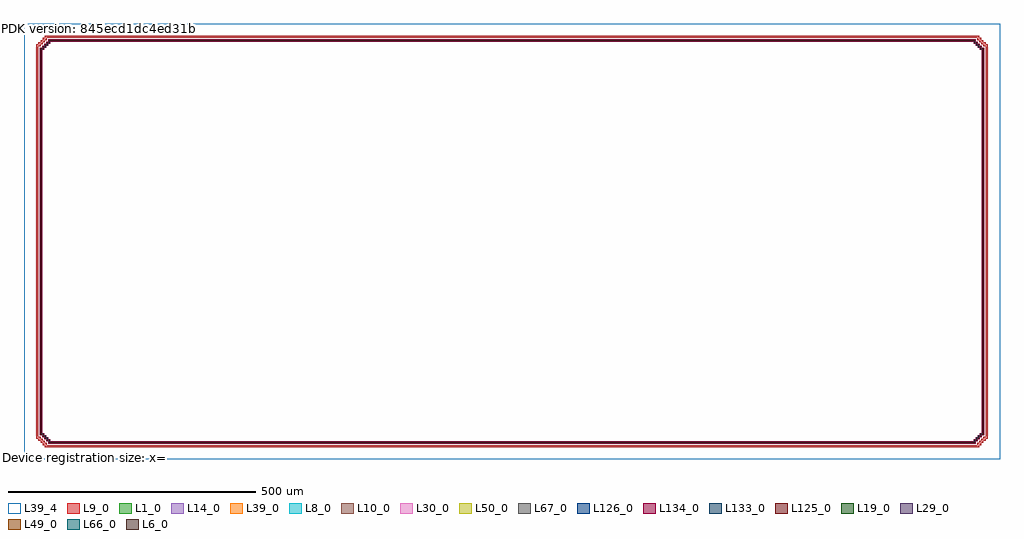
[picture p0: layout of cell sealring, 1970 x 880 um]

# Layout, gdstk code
import gdstk
lib = gdstk.Library(unit=1e-6, precision=1e-09)
def R(c, l, rs):  # rectangles x0, y0, x1, y1
    for r in rs: c.add(gdstk.rectangle(r[:2], r[2:], *l))
def P(c, l, *ps):  # polygons
    for p in ps: c.add(gdstk.Polygon(p, *l))
L1_0 = (1, 0)
L6_0 = (6, 0)
L8_0 = (8, 0)
L9_0 = (9, 0)
L10_0 = (10, 0)
L14_0 = (14, 0)
L19_0 = (19, 0)
L29_0 = (29, 0)
L30_0 = (30, 0)
L39_0 = (39, 0)
L39_4 = (39, 4)
L49_0 = (49, 0)
L50_0 = (50, 0)
L66_0 = (66, 0)
L67_0 = (67, 0)
L125_0 = (125, 0)
L126_0 = (126, 0)
L133_0 = (133, 0)
L134_0 = (134, 0)

sealring = lib.new_cell('sealring')
R(sealring, L1_0, [(49,32.2,53.2,40.6), (53.2,32.2,1916.8,36.4), (1916.8,32.2,1921,36.4), (44.8,36.4,49,44.8), (1916.8,36.4,1925.2,40.6), (40.6,40.6,44.8,49), (1921,40.6,1929.4,44.8), (36.4,44.8,40.6,53.2), (1925.2,44.8,1933.6,49), (32.2,49,36.4,53.2), (1929.4,49,1937.8,53.2), (32.2,53.2,36.4,826.8), (1933.6,53.2,1937.8,826.8), (32.2,826.8,40.6,831), (1929.4,826.8,1933.6,835.2), (1933.6,826.8,1937.8,831), (36.4,831,44.8,835.2), (1925.2,831,1929.4,839.4), (40.6,835.2,49,839.4), (1921,835.2,1925.2,843.6), (44.8,839.4,53.2,843.6), (1916.8,839.4,1921,847.8), (49,843.6,53.2,847.8), (53.2,843.6,1916.8,847.8)])
R(sealring, L6_0, [(53.2,34.2,1916.8,34.36), (34.2,53.2,34.36,826.8), (1935.64,53.2,1935.8,826.8), (53.2,845.64,1916.8,845.8)])
P(sealring, L6_0, [(1935.64,826.8),(1935.64,828.84),(1931.44,828.84),(1931.44,833.04),(1927.24,833.04),(1927.24,837.24),(1923.04,837.24),(1923.04,841.44),(1918.84,841.44),(1918.84,845.64),(1916.8,845.64),(1916.8,845.8),(1919,845.8),(1919,841.6),(1923.2,841.6),(1923.2,837.4),(1927.4,837.4),(1927.4,833.2),(1931.6,833.2),(1931.6,829),(1935.8,829),(1935.8,826.8)],
  [(51,34.2),(51,38.4),(46.8,38.4),(46.8,42.6),(42.6,42.6),(42.6,46.8),(38.4,46.8),(38.4,51),(34.2,51),(34.2,53.2),(34.36,53.2),(34.36,51.16),(38.56,51.16),(38.56,46.96),(42.76,46.96),(42.76,42.76),(46.96,42.76),(46.96,38.56),(51.16,38.56),(51.16,34.36),(53.2,34.36),(53.2,34.2)],
  [(1916.8,34.2),(1916.8,34.36),(1918.84,34.36),(1918.84,38.56),(1923.04,38.56),(1923.04,42.76),(1927.24,42.76),(1927.24,46.96),(1931.44,46.96),(1931.44,51.16),(1935.64,51.16),(1935.64,53.2),(1935.8,53.2),(1935.8,51),(1931.6,51),(1931.6,46.8),(1927.4,46.8),(1927.4,42.6),(1923.2,42.6),(1923.2,38.4),(1919,38.4),(1919,34.2)],
  [(34.2,826.8),(34.2,829),(38.4,829),(38.4,833.2),(42.6,833.2),(42.6,837.4),(46.8,837.4),(46.8,841.6),(51,841.6),(51,845.8),(53.2,845.8),(53.2,845.64),(51.16,845.64),(51.16,841.44),(46.96,841.44),(46.96,837.24),(42.76,837.24),(42.76,833.04),(38.56,833.04),(38.56,828.84),(34.36,828.84),(34.36,826.8)])
R(sealring, L8_0, [(49,32.2,53.2,40.6), (53.2,32.2,1916.8,36.4), (1916.8,32.2,1921,36.4), (44.8,36.4,49,44.8), (1916.8,36.4,1925.2,40.6), (40.6,40.6,44.8,49), (1921,40.6,1929.4,44.8), (36.4,44.8,40.6,53.2), (1925.2,44.8,1933.6,49), (32.2,49,36.4,53.2), (1929.4,49,1937.8,53.2), (32.2,53.2,36.4,826.8), (1933.6,53.2,1937.8,826.8), (32.2,826.8,40.6,831), (1929.4,826.8,1933.6,835.2), (1933.6,826.8,1937.8,831), (36.4,831,44.8,835.2), (1925.2,831,1929.4,839.4), (40.6,835.2,49,839.4), (1921,835.2,1925.2,843.6), (44.8,839.4,53.2,843.6), (1916.8,839.4,1921,847.8), (49,843.6,53.2,847.8), (53.2,843.6,1916.8,847.8)])
R(sealring, L9_0, [(53.2,25,1916.8,29.2), (25,53.2,29.2,826.8), (1940.8,53.2,1945,826.8), (53.2,850.8,1916.8,855)])
P(sealring, L9_0, [(41.8,25),(41.8,29.2),(37.6,29.2),(37.6,33.4),(33.4,33.4),(33.4,37.6),(29.2,37.6),(29.2,41.8),(25,41.8),(25,53.2),(29.2,53.2),(29.2,46),(33.4,46),(33.4,41.8),(37.6,41.8),(37.6,37.6),(41.8,37.6),(41.8,33.4),(46,33.4),(46,29.2),(78.2,29.2),(78.2,25)],
  [(1940.8,826.8),(1940.8,834),(1936.6,834),(1936.6,838.2),(1932.4,838.2),(1932.4,842.4),(1928.2,842.4),(1928.2,846.6),(1924,846.6),(1924,850.8),(1891.8,850.8),(1891.8,855),(1928.2,855),(1928.2,850.8),(1932.4,850.8),(1932.4,846.6),(1936.6,846.6),(1936.6,842.4),(1940.8,842.4),(1940.8,838.2),(1945,838.2),(1945,826.8)],
  [(1916.8,25),(1916.8,29.2),(1924,29.2),(1924,33.4),(1928.2,33.4),(1928.2,37.6),(1932.4,37.6),(1932.4,41.8),(1936.6,41.8),(1936.6,46),(1940.8,46),(1940.8,78.2),(1945,78.2),(1945,41.8),(1940.8,41.8),(1940.8,37.6),(1936.6,37.6),(1936.6,33.4),(1932.4,33.4),(1932.4,29.2),(1928.2,29.2),(1928.2,25)],
  [(25,801.8),(25,838.2),(29.2,838.2),(29.2,842.4),(33.4,842.4),(33.4,846.6),(37.6,846.6),(37.6,850.8),(41.8,850.8),(41.8,855),(53.2,855),(53.2,850.8),(46,850.8),(46,846.6),(41.8,846.6),(41.8,842.4),(37.6,842.4),(37.6,838.2),(33.4,838.2),(33.4,834),(29.2,834),(29.2,801.8)])
R(sealring, L10_0, [(49,32.2,53.2,40.6), (53.2,32.2,1916.8,36.4), (1916.8,32.2,1921,36.4), (44.8,36.4,49,44.8), (1916.8,36.4,1925.2,40.6), (40.6,40.6,44.8,49), (1921,40.6,1929.4,44.8), (36.4,44.8,40.6,53.2), (1925.2,44.8,1933.6,49), (32.2,49,36.4,53.2), (1929.4,49,1937.8,53.2), (32.2,53.2,36.4,826.8), (1933.6,53.2,1937.8,826.8), (32.2,826.8,40.6,831), (1929.4,826.8,1933.6,835.2), (1933.6,826.8,1937.8,831), (36.4,831,44.8,835.2), (1925.2,831,1929.4,839.4), (40.6,835.2,49,839.4), (1921,835.2,1925.2,843.6), (44.8,839.4,53.2,843.6), (1916.8,839.4,1921,847.8), (49,843.6,53.2,847.8), (53.2,843.6,1916.8,847.8)])
R(sealring, L14_0, [(49,32.2,53.2,40.6), (53.2,32.2,1916.8,36.4), (1916.8,32.2,1921,36.4), (44.8,36.4,49,44.8), (1916.8,36.4,1925.2,40.6), (40.6,40.6,44.8,49), (1921,40.6,1929.4,44.8), (36.4,44.8,40.6,53.2), (1925.2,44.8,1933.6,49), (32.2,49,36.4,53.2), (1929.4,49,1937.8,53.2), (32.2,53.2,36.4,826.8), (1933.6,53.2,1937.8,826.8), (32.2,826.8,40.6,831), (1929.4,826.8,1933.6,835.2), (1933.6,826.8,1937.8,831), (36.4,831,44.8,835.2), (1925.2,831,1929.4,839.4), (40.6,835.2,49,839.4), (1921,835.2,1925.2,843.6), (44.8,839.4,53.2,843.6), (1916.8,839.4,1921,847.8), (49,843.6,53.2,847.8), (53.2,843.6,1916.8,847.8)])
R(sealring, L19_0, [(53.2,34.2,1916.8,34.39), (34.2,53.2,34.39,826.8), (1935.61,53.2,1935.8,826.8), (53.2,845.61,1916.8,845.8)])
P(sealring, L19_0, [(1935.61,826.8),(1935.61,828.81),(1931.41,828.81),(1931.41,833.01),(1927.21,833.01),(1927.21,837.21),(1923.01,837.21),(1923.01,841.41),(1918.81,841.41),(1918.81,845.61),(1916.8,845.61),(1916.8,845.8),(1919,845.8),(1919,841.6),(1923.2,841.6),(1923.2,837.4),(1927.4,837.4),(1927.4,833.2),(1931.6,833.2),(1931.6,829),(1935.8,829),(1935.8,826.8)],
  [(51,34.2),(51,38.4),(46.8,38.4),(46.8,42.6),(42.6,42.6),(42.6,46.8),(38.4,46.8),(38.4,51),(34.2,51),(34.2,53.2),(34.39,53.2),(34.39,51.19),(38.59,51.19),(38.59,46.99),(42.79,46.99),(42.79,42.79),(46.99,42.79),(46.99,38.59),(51.19,38.59),(51.19,34.39),(53.2,34.39),(53.2,34.2)],
  [(1916.8,34.2),(1916.8,34.39),(1918.81,34.39),(1918.81,38.59),(1923.01,38.59),(1923.01,42.79),(1927.21,42.79),(1927.21,46.99),(1931.41,46.99),(1931.41,51.19),(1935.61,51.19),(1935.61,53.2),(1935.8,53.2),(1935.8,51),(1931.6,51),(1931.6,46.8),(1927.4,46.8),(1927.4,42.6),(1923.2,42.6),(1923.2,38.4),(1919,38.4),(1919,34.2)],
  [(34.2,826.8),(34.2,829),(38.4,829),(38.4,833.2),(42.6,833.2),(42.6,837.4),(46.8,837.4),(46.8,841.6),(51,841.6),(51,845.8),(53.2,845.8),(53.2,845.61),(51.19,845.61),(51.19,841.41),(46.99,841.41),(46.99,837.21),(42.79,837.21),(42.79,833.01),(38.59,833.01),(38.59,828.81),(34.39,828.81),(34.39,826.8)])
R(sealring, L29_0, [(53.2,34.2,1916.8,34.39), (34.2,53.2,34.39,826.8), (1935.61,53.2,1935.8,826.8), (53.2,845.61,1916.8,845.8)])
P(sealring, L29_0, [(1935.61,826.8),(1935.61,828.81),(1931.41,828.81),(1931.41,833.01),(1927.21,833.01),(1927.21,837.21),(1923.01,837.21),(1923.01,841.41),(1918.81,841.41),(1918.81,845.61),(1916.8,845.61),(1916.8,845.8),(1919,845.8),(1919,841.6),(1923.2,841.6),(1923.2,837.4),(1927.4,837.4),(1927.4,833.2),(1931.6,833.2),(1931.6,829),(1935.8,829),(1935.8,826.8)],
  [(51,34.2),(51,38.4),(46.8,38.4),(46.8,42.6),(42.6,42.6),(42.6,46.8),(38.4,46.8),(38.4,51),(34.2,51),(34.2,53.2),(34.39,53.2),(34.39,51.19),(38.59,51.19),(38.59,46.99),(42.79,46.99),(42.79,42.79),(46.99,42.79),(46.99,38.59),(51.19,38.59),(51.19,34.39),(53.2,34.39),(53.2,34.2)],
  [(1916.8,34.2),(1916.8,34.39),(1918.81,34.39),(1918.81,38.59),(1923.01,38.59),(1923.01,42.79),(1927.21,42.79),(1927.21,46.99),(1931.41,46.99),(1931.41,51.19),(1935.61,51.19),(1935.61,53.2),(1935.8,53.2),(1935.8,51),(1931.6,51),(1931.6,46.8),(1927.4,46.8),(1927.4,42.6),(1923.2,42.6),(1923.2,38.4),(1919,38.4),(1919,34.2)],
  [(34.2,826.8),(34.2,829),(38.4,829),(38.4,833.2),(42.6,833.2),(42.6,837.4),(46.8,837.4),(46.8,841.6),(51,841.6),(51,845.8),(53.2,845.8),(53.2,845.61),(51.19,845.61),(51.19,841.41),(46.99,841.41),(46.99,837.21),(42.79,837.21),(42.79,833.01),(38.59,833.01),(38.59,828.81),(34.39,828.81),(34.39,826.8)])
R(sealring, L30_0, [(49,32.2,53.2,40.6), (53.2,32.2,1916.8,36.4), (1916.8,32.2,1921,36.4), (44.8,36.4,49,44.8), (1916.8,36.4,1925.2,40.6), (40.6,40.6,44.8,49), (1921,40.6,1929.4,44.8), (36.4,44.8,40.6,53.2), (1925.2,44.8,1933.6,49), (32.2,49,36.4,53.2), (1929.4,49,1937.8,53.2), (32.2,53.2,36.4,826.8), (1933.6,53.2,1937.8,826.8), (32.2,826.8,40.6,831), (1929.4,826.8,1933.6,835.2), (1933.6,826.8,1937.8,831), (36.4,831,44.8,835.2), (1925.2,831,1929.4,839.4), (40.6,835.2,49,839.4), (1921,835.2,1925.2,843.6), (44.8,839.4,53.2,843.6), (1916.8,839.4,1921,847.8), (49,843.6,53.2,847.8), (53.2,843.6,1916.8,847.8)])
R(sealring, L39_0, [(49,32.2,53.2,40.6), (53.2,32.2,1916.8,36.4), (1916.8,32.2,1921,36.4), (44.8,36.4,49,44.8), (1916.8,36.4,1925.2,40.6), (40.6,40.6,44.8,49), (1921,40.6,1929.4,44.8), (36.4,44.8,40.6,53.2), (1925.2,44.8,1933.6,49), (32.2,49,36.4,53.2), (1929.4,49,1937.8,53.2), (32.2,53.2,36.4,826.8), (1933.6,53.2,1937.8,826.8), (32.2,826.8,40.6,831), (1929.4,826.8,1933.6,835.2), (1933.6,826.8,1937.8,831), (36.4,831,44.8,835.2), (1925.2,831,1929.4,839.4), (40.6,835.2,49,839.4), (1921,835.2,1925.2,843.6), (44.8,839.4,53.2,843.6), (1916.8,839.4,1921,847.8), (49,843.6,53.2,847.8), (53.2,843.6,1916.8,847.8)])
R(sealring, L39_4, [(0,0,1970,880)])
R(sealring, L49_0, [(53.2,34.2,1916.8,34.39), (34.2,53.2,34.39,826.8), (1935.61,53.2,1935.8,826.8), (53.2,845.61,1916.8,845.8)])
P(sealring, L49_0, [(1935.61,826.8),(1935.61,828.81),(1931.41,828.81),(1931.41,833.01),(1927.21,833.01),(1927.21,837.21),(1923.01,837.21),(1923.01,841.41),(1918.81,841.41),(1918.81,845.61),(1916.8,845.61),(1916.8,845.8),(1919,845.8),(1919,841.6),(1923.2,841.6),(1923.2,837.4),(1927.4,837.4),(1927.4,833.2),(1931.6,833.2),(1931.6,829),(1935.8,829),(1935.8,826.8)],
  [(51,34.2),(51,38.4),(46.8,38.4),(46.8,42.6),(42.6,42.6),(42.6,46.8),(38.4,46.8),(38.4,51),(34.2,51),(34.2,53.2),(34.39,53.2),(34.39,51.19),(38.59,51.19),(38.59,46.99),(42.79,46.99),(42.79,42.79),(46.99,42.79),(46.99,38.59),(51.19,38.59),(51.19,34.39),(53.2,34.39),(53.2,34.2)],
  [(1916.8,34.2),(1916.8,34.39),(1918.81,34.39),(1918.81,38.59),(1923.01,38.59),(1923.01,42.79),(1927.21,42.79),(1927.21,46.99),(1931.41,46.99),(1931.41,51.19),(1935.61,51.19),(1935.61,53.2),(1935.8,53.2),(1935.8,51),(1931.6,51),(1931.6,46.8),(1927.4,46.8),(1927.4,42.6),(1923.2,42.6),(1923.2,38.4),(1919,38.4),(1919,34.2)],
  [(34.2,826.8),(34.2,829),(38.4,829),(38.4,833.2),(42.6,833.2),(42.6,837.4),(46.8,837.4),(46.8,841.6),(51,841.6),(51,845.8),(53.2,845.8),(53.2,845.61),(51.19,845.61),(51.19,841.41),(46.99,841.41),(46.99,837.21),(42.79,837.21),(42.79,833.01),(38.59,833.01),(38.59,828.81),(34.39,828.81),(34.39,826.8)])
R(sealring, L50_0, [(49,32.2,53.2,40.6), (53.2,32.2,1916.8,36.4), (1916.8,32.2,1921,36.4), (44.8,36.4,49,44.8), (1916.8,36.4,1925.2,40.6), (40.6,40.6,44.8,49), (1921,40.6,1929.4,44.8), (36.4,44.8,40.6,53.2), (1925.2,44.8,1933.6,49), (32.2,49,36.4,53.2), (1929.4,49,1937.8,53.2), (32.2,53.2,36.4,826.8), (1933.6,53.2,1937.8,826.8), (32.2,826.8,40.6,831), (1929.4,826.8,1933.6,835.2), (1933.6,826.8,1937.8,831), (36.4,831,44.8,835.2), (1925.2,831,1929.4,839.4), (40.6,835.2,49,839.4), (1921,835.2,1925.2,843.6), (44.8,839.4,53.2,843.6), (1916.8,839.4,1921,847.8), (49,843.6,53.2,847.8), (53.2,843.6,1916.8,847.8)])
R(sealring, L66_0, [(53.2,34.2,1916.8,34.39), (34.2,53.2,34.39,826.8), (1935.61,53.2,1935.8,826.8), (53.2,845.61,1916.8,845.8)])
P(sealring, L66_0, [(1935.61,826.8),(1935.61,828.81),(1931.41,828.81),(1931.41,833.01),(1927.21,833.01),(1927.21,837.21),(1923.01,837.21),(1923.01,841.41),(1918.81,841.41),(1918.81,845.61),(1916.8,845.61),(1916.8,845.8),(1919,845.8),(1919,841.6),(1923.2,841.6),(1923.2,837.4),(1927.4,837.4),(1927.4,833.2),(1931.6,833.2),(1931.6,829),(1935.8,829),(1935.8,826.8)],
  [(51,34.2),(51,38.4),(46.8,38.4),(46.8,42.6),(42.6,42.6),(42.6,46.8),(38.4,46.8),(38.4,51),(34.2,51),(34.2,53.2),(34.39,53.2),(34.39,51.19),(38.59,51.19),(38.59,46.99),(42.79,46.99),(42.79,42.79),(46.99,42.79),(46.99,38.59),(51.19,38.59),(51.19,34.39),(53.2,34.39),(53.2,34.2)],
  [(1916.8,34.2),(1916.8,34.39),(1918.81,34.39),(1918.81,38.59),(1923.01,38.59),(1923.01,42.79),(1927.21,42.79),(1927.21,46.99),(1931.41,46.99),(1931.41,51.19),(1935.61,51.19),(1935.61,53.2),(1935.8,53.2),(1935.8,51),(1931.6,51),(1931.6,46.8),(1927.4,46.8),(1927.4,42.6),(1923.2,42.6),(1923.2,38.4),(1919,38.4),(1919,34.2)],
  [(34.2,826.8),(34.2,829),(38.4,829),(38.4,833.2),(42.6,833.2),(42.6,837.4),(46.8,837.4),(46.8,841.6),(51,841.6),(51,845.8),(53.2,845.8),(53.2,845.61),(51.19,845.61),(51.19,841.41),(46.99,841.41),(46.99,837.21),(42.79,837.21),(42.79,833.01),(38.59,833.01),(38.59,828.81),(34.39,828.81),(34.39,826.8)])
R(sealring, L67_0, [(49,32.2,53.2,40.6), (53.2,32.2,1916.8,36.4), (1916.8,32.2,1921,36.4), (44.8,36.4,49,44.8), (1916.8,36.4,1925.2,40.6), (40.6,40.6,44.8,49), (1921,40.6,1929.4,44.8), (36.4,44.8,40.6,53.2), (1925.2,44.8,1933.6,49), (32.2,49,36.4,53.2), (1929.4,49,1937.8,53.2), (32.2,53.2,36.4,826.8), (1933.6,53.2,1937.8,826.8), (32.2,826.8,40.6,831), (1929.4,826.8,1933.6,835.2), (1933.6,826.8,1937.8,831), (36.4,831,44.8,835.2), (1925.2,831,1929.4,839.4), (40.6,835.2,49,839.4), (1921,835.2,1925.2,843.6), (44.8,839.4,53.2,843.6), (1916.8,839.4,1921,847.8), (49,843.6,53.2,847.8), (53.2,843.6,1916.8,847.8)])
R(sealring, L125_0, [(53.2,34.2,1916.8,34.62), (34.2,53.2,34.62,826.8), (1935.38,53.2,1935.8,826.8), (53.2,845.38,1916.8,845.8)])
P(sealring, L125_0, [(1935.38,826.8),(1935.38,828.58),(1931.18,828.58),(1931.18,832.78),(1926.98,832.78),(1926.98,836.98),(1922.78,836.98),(1922.78,841.18),(1918.58,841.18),(1918.58,845.38),(1916.8,845.38),(1916.8,845.8),(1919,845.8),(1919,841.6),(1923.2,841.6),(1923.2,837.4),(1927.4,837.4),(1927.4,833.2),(1931.6,833.2),(1931.6,829),(1935.8,829),(1935.8,826.8)],
  [(51,34.2),(51,38.4),(46.8,38.4),(46.8,42.6),(42.6,42.6),(42.6,46.8),(38.4,46.8),(38.4,51),(34.2,51),(34.2,53.2),(34.62,53.2),(34.62,51.42),(38.82,51.42),(38.82,47.22),(43.02,47.22),(43.02,43.02),(47.22,43.02),(47.22,38.82),(51.42,38.82),(51.42,34.62),(53.2,34.62),(53.2,34.2)],
  [(1916.8,34.2),(1916.8,34.62),(1918.58,34.62),(1918.58,38.82),(1922.78,38.82),(1922.78,43.02),(1926.98,43.02),(1926.98,47.22),(1931.18,47.22),(1931.18,51.42),(1935.38,51.42),(1935.38,53.2),(1935.8,53.2),(1935.8,51),(1931.6,51),(1931.6,46.8),(1927.4,46.8),(1927.4,42.6),(1923.2,42.6),(1923.2,38.4),(1919,38.4),(1919,34.2)],
  [(34.2,826.8),(34.2,829),(38.4,829),(38.4,833.2),(42.6,833.2),(42.6,837.4),(46.8,837.4),(46.8,841.6),(51,841.6),(51,845.8),(53.2,845.8),(53.2,845.38),(51.42,845.38),(51.42,841.18),(47.22,841.18),(47.22,836.98),(43.02,836.98),(43.02,832.78),(38.82,832.78),(38.82,828.58),(34.62,828.58),(34.62,826.8)])
R(sealring, L126_0, [(49,32.2,53.2,40.6), (53.2,32.2,1916.8,36.4), (1916.8,32.2,1921,36.4), (44.8,36.4,49,44.8), (1916.8,36.4,1925.2,40.6), (40.6,40.6,44.8,49), (1921,40.6,1929.4,44.8), (36.4,44.8,40.6,53.2), (1925.2,44.8,1933.6,49), (32.2,49,36.4,53.2), (1929.4,49,1937.8,53.2), (32.2,53.2,36.4,826.8), (1933.6,53.2,1937.8,826.8), (32.2,826.8,40.6,831), (1929.4,826.8,1933.6,835.2), (1933.6,826.8,1937.8,831), (36.4,831,44.8,835.2), (1925.2,831,1929.4,839.4), (40.6,835.2,49,839.4), (1921,835.2,1925.2,843.6), (44.8,839.4,53.2,843.6), (1916.8,839.4,1921,847.8), (49,843.6,53.2,847.8), (53.2,843.6,1916.8,847.8)])
R(sealring, L133_0, [(53.2,34.2,1916.8,35.1), (34.2,53.2,35.1,826.8), (1934.9,53.2,1935.8,826.8), (53.2,844.9,1916.8,845.8)])
P(sealring, L133_0, [(1934.9,826.8),(1934.9,828.1),(1930.7,828.1),(1930.7,832.3),(1926.5,832.3),(1926.5,836.5),(1922.3,836.5),(1922.3,840.7),(1918.1,840.7),(1918.1,844.9),(1916.8,844.9),(1916.8,845.8),(1919,845.8),(1919,841.6),(1923.2,841.6),(1923.2,837.4),(1927.4,837.4),(1927.4,833.2),(1931.6,833.2),(1931.6,829),(1935.8,829),(1935.8,826.8)],
  [(51,34.2),(51,38.4),(46.8,38.4),(46.8,42.6),(42.6,42.6),(42.6,46.8),(38.4,46.8),(38.4,51),(34.2,51),(34.2,53.2),(35.1,53.2),(35.1,51.9),(39.3,51.9),(39.3,47.7),(43.5,47.7),(43.5,43.5),(47.7,43.5),(47.7,39.3),(51.9,39.3),(51.9,35.1),(53.2,35.1),(53.2,34.2)],
  [(1916.8,34.2),(1916.8,35.1),(1918.1,35.1),(1918.1,39.3),(1922.3,39.3),(1922.3,43.5),(1926.5,43.5),(1926.5,47.7),(1930.7,47.7),(1930.7,51.9),(1934.9,51.9),(1934.9,53.2),(1935.8,53.2),(1935.8,51),(1931.6,51),(1931.6,46.8),(1927.4,46.8),(1927.4,42.6),(1923.2,42.6),(1923.2,38.4),(1919,38.4),(1919,34.2)],
  [(34.2,826.8),(34.2,829),(38.4,829),(38.4,833.2),(42.6,833.2),(42.6,837.4),(46.8,837.4),(46.8,841.6),(51,841.6),(51,845.8),(53.2,845.8),(53.2,844.9),(51.9,844.9),(51.9,840.7),(47.7,840.7),(47.7,836.5),(43.5,836.5),(43.5,832.3),(39.3,832.3),(39.3,828.1),(35.1,828.1),(35.1,826.8)])
R(sealring, L134_0, [(49,32.2,53.2,40.6), (53.2,32.2,1916.8,36.4), (1916.8,32.2,1921,36.4), (44.8,36.4,49,44.8), (1916.8,36.4,1925.2,40.6), (40.6,40.6,44.8,49), (1921,40.6,1929.4,44.8), (36.4,44.8,40.6,53.2), (1925.2,44.8,1933.6,49), (32.2,49,36.4,53.2), (1929.4,49,1937.8,53.2), (32.2,53.2,36.4,826.8), (1933.6,53.2,1937.8,826.8), (32.2,826.8,40.6,831), (1929.4,826.8,1933.6,835.2), (1933.6,826.8,1937.8,831), (36.4,831,44.8,835.2), (1925.2,831,1929.4,839.4), (40.6,835.2,49,839.4), (1921,835.2,1925.2,843.6), (44.8,839.4,53.2,843.6), (1916.8,839.4,1921,847.8), (49,843.6,53.2,847.8), (53.2,843.6,1916.8,847.8)])
sealring.add(gdstk.Label('Device registration size: x=1970.0 um ; y=880.0 um\nCalculated area: 1.7e-06 sq mm', (5,5), layer=63, texttype=0))
sealring.add(gdstk.Label('PDK version: 845ecd1dc4ed31ba269bc329e761b77070a42289', (5,870), layer=63, texttype=0))

lib.write_gds('sealring.gds')
